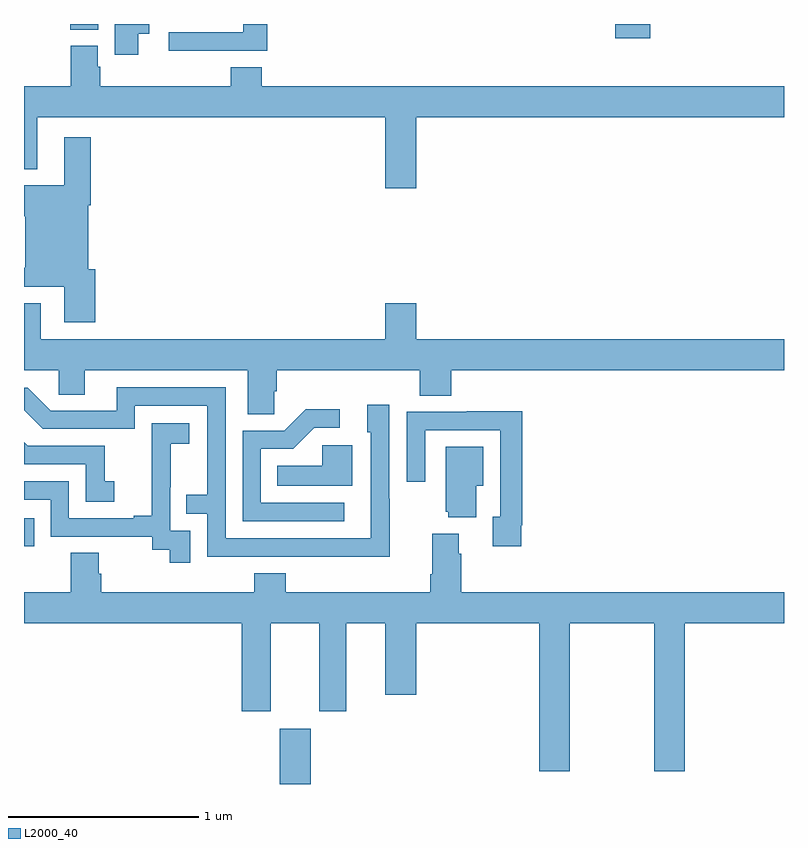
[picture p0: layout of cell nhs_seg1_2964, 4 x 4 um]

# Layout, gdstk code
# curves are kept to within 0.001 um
import gdstk
lib = gdstk.Library(unit=1e-6, precision=1e-09)
def R(c, l, rs):  # rectangles x0, y0, x1, y1
    for r in rs: c.add(gdstk.rectangle(r[:2], r[2:], *l))
def P(c, l, *ps):  # polygons
    for p in ps: c.add(gdstk.Polygon(p, *l))
L2000_40 = (2000, 40)

nhs_seg1_2964 = lib.new_cell('nhs_seg1_2964')
R(nhs_seg1_2964, L2000_40, [(272.345,572.199,272.509,572.491), (271,573.45,271.055,573.597), (274.112,576.123,274.295,576.199), (271.244,576.169,271.39,576.199)])
P(nhs_seg1_2964, L2000_40, [(271.6,576.149),(271.66,576.149),(271.66,576.199),(271.478,576.199),(271.478,576.036),(271.6,576.036)],
  [(272.279,576.199),(272.153,576.199),(272.153,576.156),(271.761,576.156),(271.761,576.059),(272.279,576.059)],
  [(273.064,575.708),(275,575.708),(275,575.872),(272.252,575.872),(272.252,575.971),(272.087,575.971),(272.087,575.872),(271.4,575.872),(271.4,575.973),(271.387,575.973),(271.387,576.084),(271.247,576.084),(271.247,575.872),(271,575.872),(271,575.435),(271.069,575.435),(271.069,575.708),(272.9,575.708),(272.9,575.334),(273.064,575.334)],
  [(271.376,574.908),(271.339,574.908),(271.339,575.246),(271.352,575.246),(271.352,575.602),(271.211,575.602),(271.211,575.35),(271,575.35),(271,575.186),(271.007,575.186),(271.007,574.916),(271,574.916),(271,574.815),(271.211,574.815),(271.211,574.629),(271.376,574.629)],
  [(272.316,574.267),(272.33,574.267),(272.33,574.376),(273.083,574.376),(273.083,574.243),(273.248,574.243),(273.248,574.376),(275,574.376),(275,574.54),(273.064,574.54),(273.064,574.729),(272.9,574.729),(272.9,574.54),(271.087,574.54),(271.087,574.73),(271,574.73),(271,574.376),(271.182,574.376),(271.182,574.249),(271.321,574.249),(271.321,574.376),(272.177,574.376),(272.177,574.144),(272.316,574.144)],
  [(272.925,573.701),(272.922,573.701),(272.922,574.195),(272.807,574.195),(272.807,574.05),(272.826,574.05),(272.825,573.492),(272.061,573.492),(272.061,574.287),(271.487,574.287),(271.487,574.164),(271.14,574.164),(271.02,574.284),(271,574.284),(271,574.166),(271.098,574.068),(271.584,574.068),(271.584,574.191),(271.965,574.191),(271.965,573.722),(271.855,573.722),(271.855,573.621),(271.965,573.621),(271.965,573.396),(272.925,573.395)],
  [(272.686,573.678),(272.247,573.678),(272.247,573.963),(272.416,573.963),(272.527,574.074),(272.662,574.074),(272.662,574.172),(272.483,574.172),(272.37,574.059),(272.151,574.059),(272.151,573.582),(272.686,573.582)],
  [(273.616,573.562),(273.623,573.562),(273.623,574.16),(273.331,574.16),(273.331,574.158),(273.015,574.158),(273.015,573.789),(273.111,573.789),(273.111,574.062),(273.507,574.062),(273.507,573.606),(273.467,573.606),(273.467,573.45),(273.616,573.45)],
  [(271.875,573.531),(271.77,573.531),(271.77,573.761),(271.772,573.761),(271.772,573.989),(271.87,573.989),(271.87,574.099),(271.672,574.099),(271.672,573.893),(271.673,573.893),(271.673,573.61),(271.577,573.61),(271.577,573.597),(271.236,573.597),(271.236,573.792),(271,573.792),(271,573.696),(271.14,573.696),(271.14,573.501),(271.674,573.501),(271.674,573.433),(271.767,573.433),(271.767,573.363),(271.875,573.363)],
  [(271.474,573.793),(271.425,573.793),(271.425,573.978),(271.021,573.978),(271,573.999),(271,573.882),(271.326,573.882),(271.326,573.684),(271.474,573.684)],
  [(272.728,573.982),(272.571,573.982),(272.571,573.874),(272.332,573.874),(272.332,573.77),(272.728,573.77)],
  [(273.379,573.77),(273.418,573.77),(273.418,573.973),(273.221,573.973),(273.221,573.633),(273.233,573.633),(273.233,573.602),(273.379,573.602)],
  [(273.873,573.044),(274.318,573.044),(274.318,572.265),(274.478,572.265),(274.478,573.044),(275,573.044),(275,573.208),(273.302,573.208),(273.302,573.41),(273.289,573.41),(273.289,573.517),(273.149,573.517),(273.149,573.304),(273.137,573.304),(273.137,573.208),(272.378,573.208),(272.378,573.307),(272.213,573.307),(272.213,573.208),(271.406,573.208),(271.406,573.306),(271.393,573.306),(271.393,573.416),(271.246,573.416),(271.246,573.208),(271,573.208),(271,573.044),(272.147,573.044),(272.147,572.583),(272.299,572.583),(272.299,573.044),(272.555,573.044),(272.555,572.583),(272.695,572.583),(272.695,573.044),(272.9,573.044),(272.9,572.67),(273.064,572.67),(273.064,573.044),(273.713,573.044),(273.713,572.265),(273.873,572.265)])

lib.write_gds('nhs_seg1_2964.gds')
